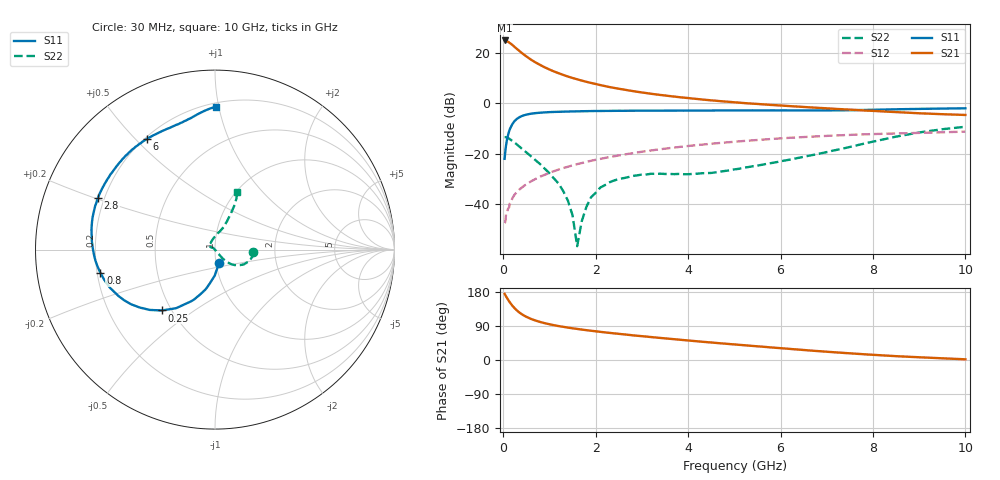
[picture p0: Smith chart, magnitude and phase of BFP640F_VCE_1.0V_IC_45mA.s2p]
! (c) 2013  Infineon Technologies AG, Munich
! Infineon Technologies  Discrete & RF Semiconductors
! BFP640F
! VCE =  1.0 V,  IC =  45 mA
! Common Emitter S-Parameters:  Apr 2013
# GHz  S  MA  R  50
!  f  S11  S21  S12  S22
! GHz  MAG  ANG  MAG  ANG  MAG  ANG  MAG  ANG
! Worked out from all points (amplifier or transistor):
!   99 points, 30 MHz to 10 GHz, reference 50 ohm
!   highest |S21| = 24.8 dB at 30 MHz (marker M1)
!   |S21| within 3 dB of that: start of sweep to 274.4 MHz
!   unconditionally stable (mu >= 1): start of sweep to end of sweep
!   at 350 MHz: K = 1.68, MAG = 22.6 dB, |S12| = -34.1 dB
!   at 3.5 GHz: K = 1.46, MAG = 6.5 dB, |S12| = -17.9 dB
!   at 10 GHz: K = 1.29, MAG = 0.0 dB, |S12| = -11.2 dB
!   S11 on the Smith chart (normalised r, x): 30 MHz: 1.03, -0.16; 250 MHz: 0.44, -0.38; 800 MHz: 0.21, -0.10; 2.8 GHz: 0.18, +0.21; 6 GHz: 0.21, +0.54; 10 GHz: 0.23, +0.98
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0.03  0.0799 -73.4  17.46 174.5  0.0043 32.7  0.2141 -3.0
0.09  0.2062 -100.8  16.69 162.0  0.0074 48.3  0.2079 -13.2
0.13  0.2839 -110.9  15.85 154.4  0.0089 57.7  0.1986 -18.6
0.2  0.392 -123.6  14.18 143.0  0.0134 61.0  0.1804 -27.2
0.25  0.4502 -131.1  12.9 136.2  0.0159 60.9  0.166 -31.2
0.35  0.5304 -142.6  10.82 125.3  0.0198 61.2  0.1393 -38.2
0.4  0.5585 -147.0  9.926 121.0  0.0215 62.6  0.1273 -40.7
0.5  0.5966 -154.3  8.465 114.0  0.025 62.4  0.1071 -44.0
0.6  0.6231 -160.1  7.298 108.5  0.0286 63.1  0.0899 -46.8
0.8  0.6516 -168.6  5.721 100.3  0.0355 64.4  0.0627 -49.3
1.1  0.6747 -177.4  4.252 91.8  0.0456 65.1  0.0325 -49.9
1.4  0.6876 176.2  3.38 85.5  0.0558 65.2  0.0119 -54.8
1.6  0.6935 172.6  2.979 82.0  0.0627 64.8  0.0015 -81.6
1.7  0.6969 170.9  2.809 80.3  0.066 64.7  0.0047 134.6
2.1  0.7055 165.1  2.29 74.3  0.0795 63.3  0.0216 150.1
2.8  0.7127 156.1  1.747 65.2  0.103 60.1  0.0367 150.5
3.4  0.7157 149.0  1.461 58.2  0.1237 56.6  0.0406 150.2
5.1  0.7224 130.6  1.031 40.1  0.1766 45.6  0.0507 111.4
6  0.7239 121.6  0.904 31.2  0.2025 39.3  0.0714 91.2
6.7  0.7232 113.9  0.825 24.5  0.2198 34.1  0.0952 78.9
8.5  0.7611 97.2  0.67 10.1  0.2534 21.9  0.2193 66.3
10  0.7962 89.7  0.588 1.8  0.2756 14.4  0.344 69.0
